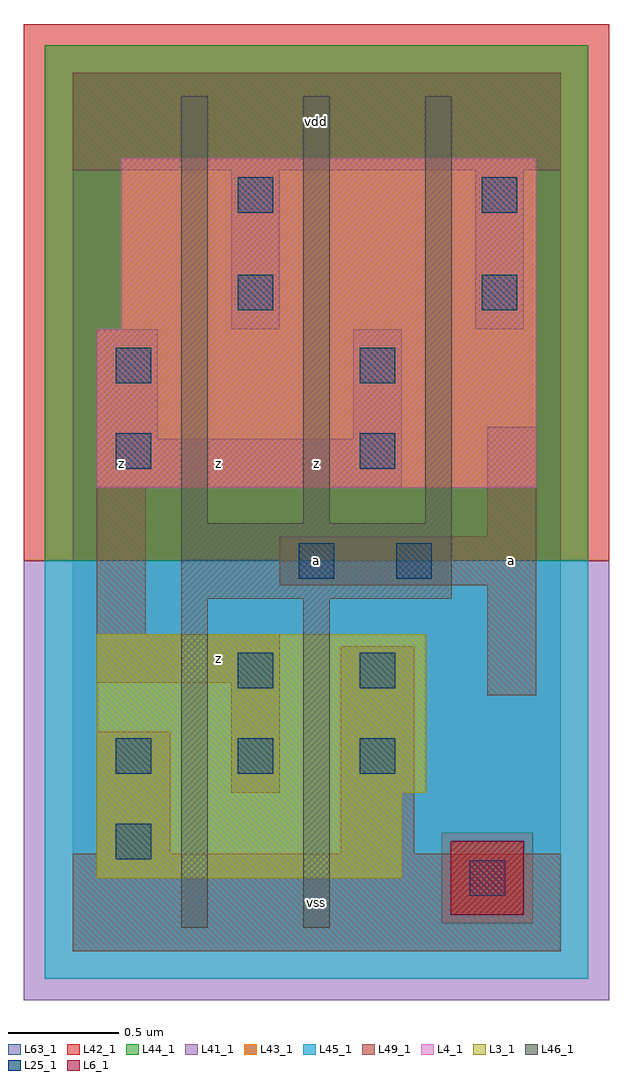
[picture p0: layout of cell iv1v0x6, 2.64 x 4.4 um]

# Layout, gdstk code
import gdstk
lib = gdstk.Library(unit=1e-6, precision=1e-09)
def R(c, l, rs):  # rectangles x0, y0, x1, y1
    for r in rs: c.add(gdstk.rectangle(r[:2], r[2:], *l))
def A(c, l, x, y, w, h, nx, ny, dx, dy):  # array of equal rectangles
    R(c, l, [(x+i*dx, y+j*dy, x+i*dx+w, y+j*dy+h) for i in range(nx) for j in range(ny)])
L3_1 = (3, 1)
L4_1 = (4, 1)
L6_1 = (6, 1)
L25_1 = (25, 1)
L41_1 = (41, 1)
L42_1 = (42, 1)
L43_1 = (43, 1)
L44_1 = (44, 1)
L45_1 = (45, 1)
L46_1 = (46, 1)
L49_1 = (49, 1)
L63_1 = (63, 1)

iv1v0x6 = lib.new_cell('iv1v0x6')
R(iv1v0x6, L3_1, [(0.11,0.33,1.485,0.715), (0.11,0.715,1.595,1.43)])
R(iv1v0x6, L4_1, [(0.11,2.09,2.09,2.805), (0.22,2.805,2.09,3.575)])
R(iv1v0x6, L6_1, [(1.705,0.165,2.035,0.495)])
A(iv1v0x6, L25_1, 0.195, 0.8, 0.16, 0.16, 3, 1, 0.55, 0)
R(iv1v0x6, L25_1, [(1.79,0.25,1.95,0.41), (0.195,0.415,0.355,0.575), (0.745,1.185,0.905,1.345), (1.295,1.185,1.455,1.345), (1.02,1.68,1.18,1.84), (1.46,1.68,1.62,1.84), (0.195,2.175,0.355,2.335), (1.295,2.175,1.455,2.335), (0.195,2.56,0.355,2.72), (1.295,2.56,1.455,2.72), (0.745,2.89,0.905,3.05), (1.845,2.89,2.005,3.05), (0.745,3.33,0.905,3.49), (1.845,3.33,2.005,3.49)])
R(iv1v0x6, L41_1, [(-0.22,-0.22,2.42,1.76)])
R(iv1v0x6, L42_1, [(-0.22,1.76,2.42,4.18)])
R(iv1v0x6, L43_1, [(1.705,0.165,2.035,0.495), (0.11,0.33,1.485,0.715), (0.11,0.715,1.595,1.43), (0.11,2.09,2.09,2.805), (0.22,2.805,2.09,3.575)])
R(iv1v0x6, L44_1, [(1.665,0.125,2.075,0.535), (-0.125,1.76,2.325,4.085)])
R(iv1v0x6, L45_1, [(-0.125,-0.125,2.325,0.125), (-0.125,0.125,1.665,0.535), (2.075,0.125,2.325,0.535), (-0.125,0.535,2.325,1.76)])
A(iv1v0x6, L46_1, 0.49, 1.93, 0.12, 1.925, 3, 1, 0.55, 0)
R(iv1v0x6, L46_1, [(0.49,0.105,0.61,1.59), (1.04,0.105,1.16,1.59), (0.49,1.59,1.71,1.93)])
R(iv1v0x6, L49_1, [(0,0,2.2,0.44), (0.11,0.44,0.44,0.99), (1.21,0.44,1.54,1.375), (0.715,0.715,0.935,1.21), (1.87,1.155,2.09,1.65), (0.11,1.21,0.935,1.43), (0.11,1.43,0.33,2.09), (0.935,1.65,2.09,1.87), (1.87,1.87,2.09,2.365), (0.11,2.09,1.485,2.31), (0.11,2.31,0.385,2.805), (1.265,2.31,1.485,2.805), (0.715,2.805,0.935,3.52), (1.815,2.805,2.035,3.52), (0,3.52,2.2,3.96)])
R(iv1v0x6, L63_1, [(0,0,2.2,3.96)])
iv1v0x6.add(gdstk.Label('z', (0.22,2.2), layer=49, texttype=1))
iv1v0x6.add(gdstk.Label('z', (0.66,1.32), layer=49, texttype=1))
iv1v0x6.add(gdstk.Label('z', (0.66,2.2), layer=49, texttype=1))
iv1v0x6.add(gdstk.Label('vss', (1.1,0.22), layer=49, texttype=1))
iv1v0x6.add(gdstk.Label('a', (1.1,1.76), layer=49, texttype=1))
iv1v0x6.add(gdstk.Label('z', (1.1,2.2), layer=49, texttype=1))
iv1v0x6.add(gdstk.Label('vdd', (1.1,3.74), layer=49, texttype=1))
iv1v0x6.add(gdstk.Label('a', (1.98,1.76), layer=49, texttype=1))

lib.write_gds('iv1v0x6.gds')
